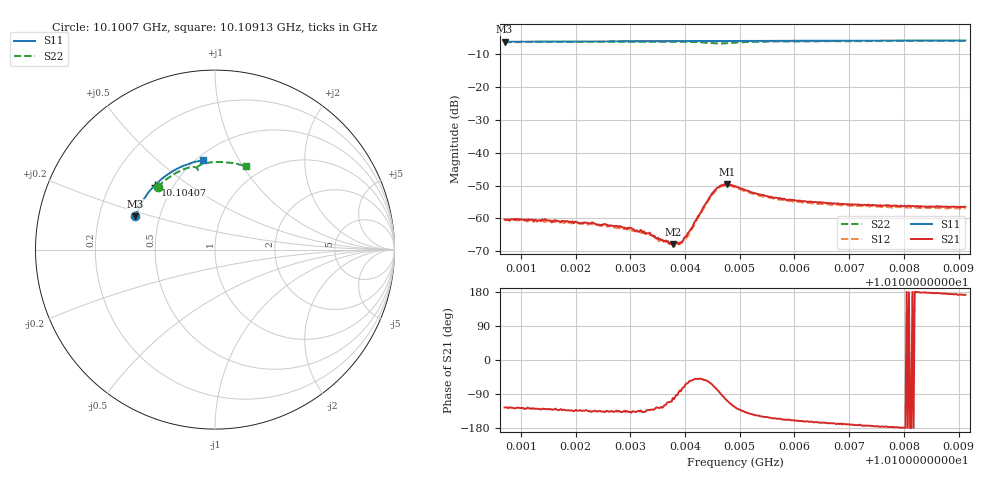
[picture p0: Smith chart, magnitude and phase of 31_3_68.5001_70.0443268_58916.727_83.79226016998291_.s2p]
#  HZ  S  RI  R  50.00
! Rohde & Schwarz Vector Network Analyzer
! Rohde-Schwarz,ZNB20-2Port,1311601062101988,3.16
! Created: UTC 3/20/2024, 5:05:05 PM
! freq[Hz]  re:S11  im:S11  re:S21  im:S21  re:S12  im:S12  re:S22  im:S22
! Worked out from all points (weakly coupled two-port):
!   401 points, 10.1007 GHz to 10.10913 GHz, reference 50 ohm
!   highest |S21| = -49.62 dB at 10.10477 GHz (marker M1); lowest = -67.8 dB at 10.10378 GHz (marker M2)
!   lowest |S11| = -6.4 dB at 10.1007 GHz (marker M3), VSWR 2.85, Z = 18.2 + j8.8 ohm
!   |S11| at or under -10 dB: nowhere
!   |S22| runs from -6.9 to -6.1 dB; largest |S21 - S12| = 0.00033
!   S11 on the Smith chart (normalised r, x): 10.1007 GHz: 0.36, +0.18; 10.10407 GHz: 0.40, +0.38; 10.10913 GHz: 0.54, +0.72
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1.0100702e10  -0.443 0.1864  -0.00056 -0.000788  -0.000469 -0.000836  -0.3199 0.3488
1.0101418e10  -0.4266 0.2267  -0.000597 -0.000723  -0.000518 -0.000738  -0.2857 0.38
1.0102113e10  -0.4071 0.2643  -0.000602 -0.000615  -0.000528 -0.000642  -0.2495 0.4072
1.0102513e10  -0.3944 0.285  -0.000593 -0.000573  -0.00052 -0.000608  -0.2272 0.4211
1.0102997e10  -0.3777 0.3089  -0.000524 -0.000494  -0.00044 -0.0005  -0.199 0.4366
1.0103124e10  -0.3731 0.3152  -0.000473 -0.000461  -0.000429 -0.000486  -0.1912 0.44
1.0103355e10  -0.3642 0.3264  -0.000413 -0.000452  -0.000335 -0.000452  -0.1768 0.4464
1.0103524e10  -0.3577 0.3341  -0.000289 -0.000387  -0.000245 -0.00038  -0.1659 0.4506
1.0103777e10  -0.3476 0.3457  -7.42e-05 -0.0004  -5.5e-05 -0.000394  -0.1485 0.4562
1.0103924e10  -0.3414 0.3524  5.62e-05 -0.000431  0.000101 -0.000406  -0.1377 0.4584
1.0104008e10  -0.3379 0.356  0.000226 -0.000478  0.000215 -0.000442  -0.1313 0.4594
1.0104072e10  -0.3354 0.3587  0.000338 -0.000525  0.000318 -0.000484  -0.1264 0.4599
1.0104366e10  -0.3225 0.3712  0.00097 -0.00128  0.00105 -0.00116  -0.1026 0.4552
1.0104514e10  -0.3159 0.3773  0.000944 -0.00231  0.0011 -0.0021  -0.0959 0.4466
1.010464e10  -0.3104 0.3822  0.000169 -0.00312  0.000417 -0.00296  -0.0986 0.4409
1.0104766e10  -0.3047 0.3873  -0.000955 -0.00316  -0.000653 -0.00311  -0.1036 0.4445
1.0104914e10  -0.298 0.3931  -0.00173 -0.00256  -0.00144 -0.0026  -0.1019 0.4551
1.010523e10  -0.2831 0.405  -0.00198 -0.00148  -0.00178 -0.00159  -0.0829 0.4711
1.0105588e10  -0.2654 0.4178  -0.00191 -0.000941  -0.00173 -0.00108  -0.058 0.4801
1.0106325e10  -0.2276 0.4414  -0.0017 -0.000532  -0.00159 -0.000608  -0.00809 0.4875
1.0107736e10  -0.15 0.4767  -0.00157 -9.01e-05  -0.00148 -0.000228  0.0835 0.4843
1.0109126e10  -0.0685 0.4974  -0.0015 0.000204  -0.00141 6.05e-05  0.1699 0.4643
